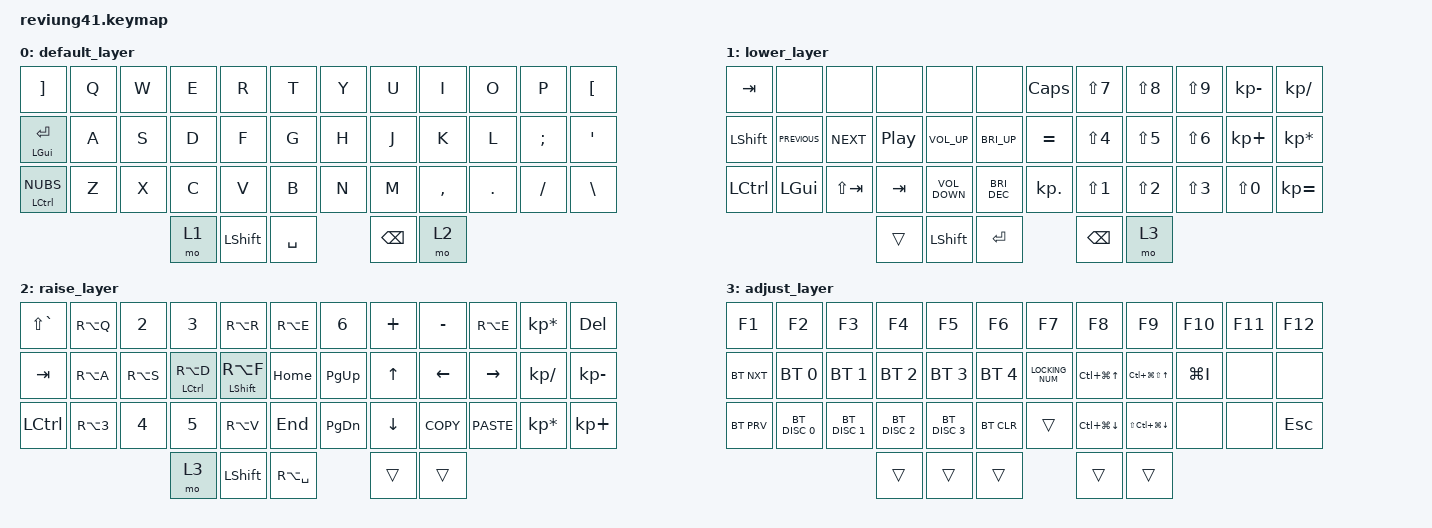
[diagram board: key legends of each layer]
/*
 * Copyright (c) 2020 The ZMK Contributors
 *
 * SPDX-License-Identifier: MIT
 */

#include <behaviors.dtsi>
#include <dt-bindings/zmk/bt.h>
#include <dt-bindings/zmk/keys.h>

/ {
    combos {
        compatible = "zmk,combos";

        reset {
            bindings = <&bootloader>;
            key-positions = <11 0 36 40>;
        };
    };

    keymap {
        compatible = "zmk,keymap";

        default_layer {
            // -------------------------------------------------------------------------------------
            // |  TAB |  Q  |  W  |  E  |  R  |  T  |   |  Y  |  U   |  I  |  O  |  P  |   BKSP    |
            // | CTRL |  A  |  S  |  D  |  F  |  G  |   |  H  |  J   |  K  |  L  |  ;  |    '      |
            // | SHFT |  Z  |  X  |  C  |  V  |  B  |   |  N  |  M   |  ,  |  .  |  /  | SHFT(RET) |
            //                         | ALT | LWR | SPC | RSE  | ALT |

            bindings = <
&kp RBKT        &kp Q  &kp W  &kp E  &kp R      &kp T             &kp Y  &kp U          &kp I      &kp O    &kp P     &kp LBKT
&mt LGUI ENTER  &kp A  &kp S  &kp D  &kp F      &kp G             &kp H  &kp J          &kp K      &kp L    &kp SEMI  &kp SQT
&mt LCTRL NUBS  &kp Z  &kp X  &kp C  &kp V      &kp B             &kp N  &kp M          &kp COMMA  &kp DOT  &kp FSLH  &kp BSLH
                              &mo 1  &kp LSHFT         &kp SPACE         &kp BACKSPACE  &mo 2
            >;
        };

        lower_layer {
            // ------------------------------------------------------------------------------------
            // |    |  !  |  @  |  #  |  $  |  %  |   |  ^  |  &  |  *  |  (  |  )  |      DEL    |
            // |    |  _  |  +  |  {  |  }  | "|" |   | LFT | DWN |  UP | RGT |  `  |       ~     |
            // |    | ESC | GUI | ALT | CAPS|  "  |   | HOME| END | PGUP| PGDN| PRSC| SHFT(SPACE) |
            //                       |     |     | RET | ADJ |     |

            bindings = <
&kp TAB    &none           &none        &none             &none              &none                          &kp CAPSLOCK  &kp LS(N7)        &kp LS(N8)        &kp LS(N9)        &kp KP_MINUS  &kp KP_DIVIDE
&kp LSHFT  &kp C_PREVIOUS  &kp C_NEXT   &kp C_PLAY_PAUSE  &kp C_VOLUME_UP    &kp C_BRI_UP                   &kp EQUAL     &kp LS(NUMBER_4)  &kp LS(N5)        &kp LS(NUMBER_6)  &kp KP_PLUS   &kp KP_MULTIPLY
&kp LCTRL  &kp LEFT_GUI    &kp LS(TAB)  &kp TAB           &kp C_VOLUME_DOWN  &kp C_BRIGHTNESS_DEC           &kp KP_DOT    &kp LS(NUMBER_1)  &kp LS(NUMBER_2)  &kp LS(NUMBER_3)  &kp LS(N0)    &kp KP_EQUAL
                                        &trans            &kp LSHFT                                &kp RET                &kp BACKSPACE     &mo 3
            >;
        };

        raise_layer {
            // ----------------------------------------------------------------------------
            // |    |  1  |  2  |  3  |  4  |  5  |   |  6  |  7  |  8  |  9  |  0  | DEL |
            // |    |  -  |  =  |  [  |  ]  |  \  |   | F1  | F2  | F3  | F4  | F5  | F6  |
            // |    | ESC | GUI | ALT | CAPS|  "  |   | F7  | F8  | F9  | F10 | F11 | F12 |
            //                       |     | ADJ | BKSP |    |     |

            bindings = <
&kp LS(GRAVE)  &kp RA(Q)         &kp NUMBER_2  &kp N3           &kp RA(R)             &kp RA(E)                 &kp N6         &kp PLUS      &kp MINUS   &kp RA(E)    &kp KP_MULTIPLY  &kp DEL
&kp TAB        &kp RA(A)         &kp RA(S)     &mt LCTRL RA(D)  &mt LEFT_SHIFT RA(F)  &kp HOME                  &kp PAGE_UP    &kp UP_ARROW  &kp LEFT    &kp RIGHT    &kp KP_DIVIDE    &kp KP_MINUS
&kp LCTRL      &kp RA(NUMBER_3)  &kp NUMBER_4  &kp N5           &kp RA(V)             &kp END                   &kp PAGE_DOWN  &kp DOWN      &kp K_COPY  &kp K_PASTE  &kp KP_MULTIPLY  &kp KP_PLUS
                                               &mo 3            &kp LSHFT                        &kp RA(SPACE)                 &trans        &trans
            >;
        };

        adjust_layer {
            // -----------------------------------------------------------------------------------------
            // | RGB BRI+ | RGB SAT+ | RGB HUE+ | RGB ANI+ |    | RGB TOG |   |  BT1  | BT2 | BT3 | BT4 | BT5 | BT CLR |
            // | RGB BRI- | RGB SAT- | RGB HUE- | RGB ANI- |    |         |   |       |     |     |     |     |        |
            // |          |          |          |          |    |         |   | RESET |     |     |     |     |        |
            //                                              |     |     |     |     |     |

            bindings = <
&kp F1      &kp F2         &kp F3         &kp F4         &kp F5         &kp F6                &kp F7           &kp F8                  &kp F9                      &kp F10    &kp F11  &kp F12
&bt BT_NXT  &bt BT_SEL 0   &bt BT_SEL 1   &bt BT_SEL 2   &bt BT_SEL 3   &bt BT_SEL 4          &kp LOCKING_NUM  &kp LC(LG(UP_ARROW))    &kp LC(LG(LS(UP_ARROW)))    &kp LG(I)  &none    &none
&bt BT_PRV  &bt BT_DISC 0  &bt BT_DISC 1  &bt BT_DISC 2  &bt BT_DISC 3  &bt BT_CLR            &trans           &kp LC(LG(DOWN_ARROW))  &kp LS(LC(LG(DOWN_ARROW)))  &none      &none    &kp ESCAPE
                                          &trans         &trans                       &trans                   &trans                  &trans
            >;
        };
    };
};
